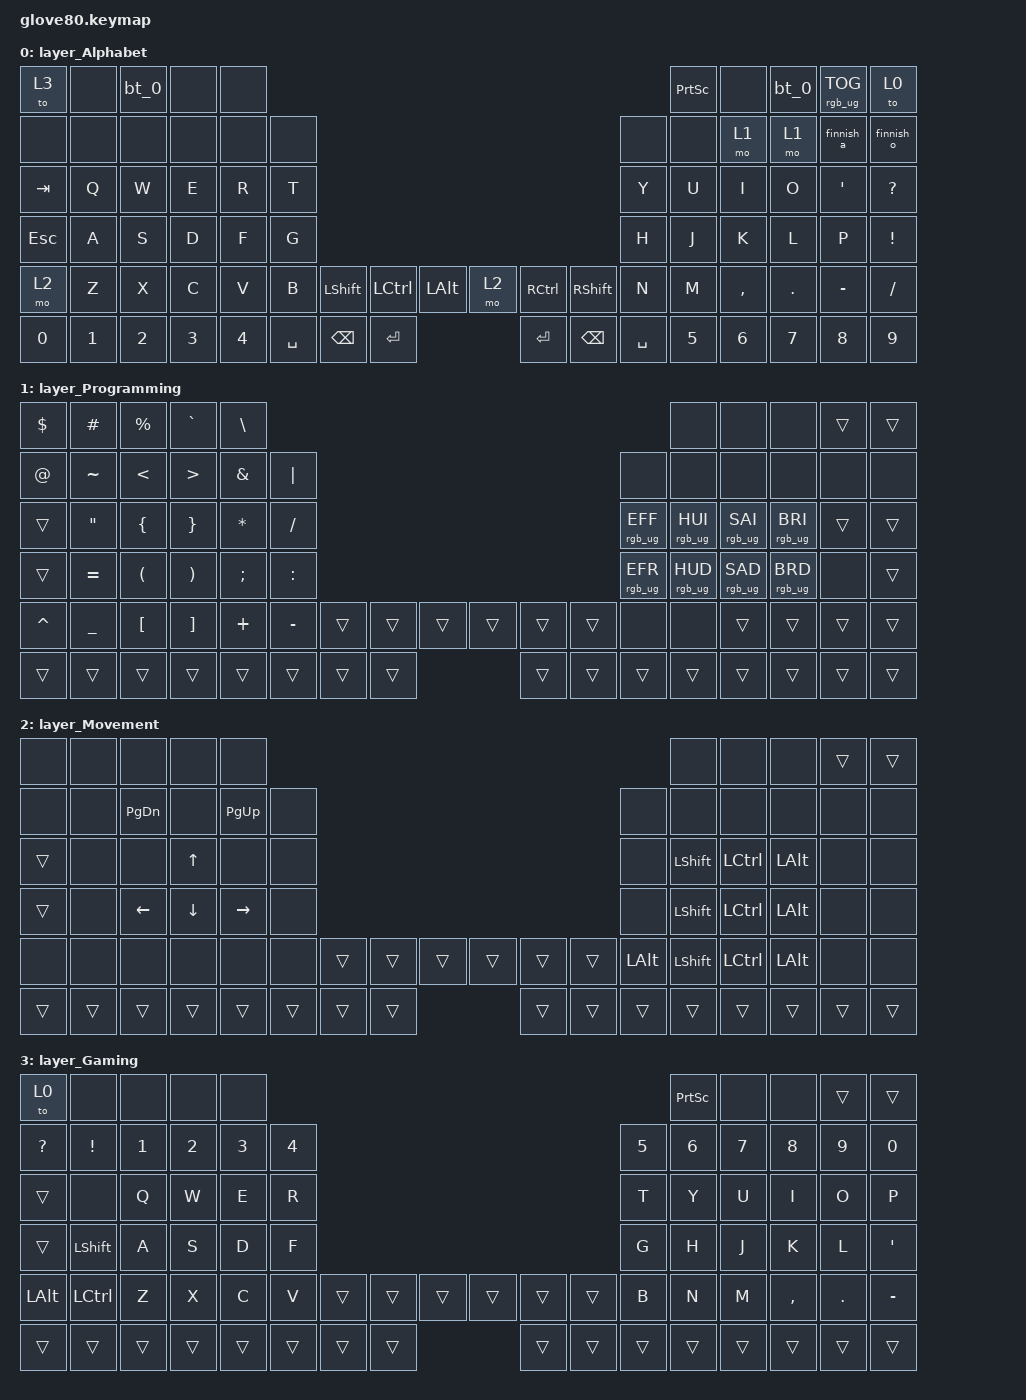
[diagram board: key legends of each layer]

/*
 * Copyright (c) 2020 The ZMK Contributors
 * Copyright (c) 2023 Innaworks Development Limited, trading as MoErgo
 *
 * SPDX-License-Identifier: MIT
 */


/* THIS FILE WAS GENERATED BY GLOVE80 LAYOUT EDITOR
 *
 * This file was generated automatically. You may or may not want to
 * edit it directly.
 */

#include <behaviors.dtsi>
/* Include all behavior includes needed */
#include <dt-bindings/zmk/outputs.h>
#include <dt-bindings/zmk/keys.h>
#include <dt-bindings/zmk/bt.h>
#include <dt-bindings/zmk/rgb.h>

/* Automatically generated layer name #define */
#define LAYER_Alphabet 0
#define LAYER_Programming 1
#define LAYER_Movement 2
#define LAYER_Gaming 3

/* To deal with the situation where there is no Lower layer, to keep &lower happy */
#ifndef LAYER_Lower
#define LAYER_Lower 0
#endif

/* Custom Device-tree */
#include <dt-bindings/zmk/rgb_colors.h>
/ {
    underglow-layer {
        compatible  = "zmk,underglow-layer";

        Alphabet {
            bindings = <
                ______ ______ ______ ______ ______                                                          ______ ______ ______ ______ ______
                PURPLE   PINK   PINK   PINK   PINK   PINK                                            ______   GOLD ORANGE ORANGE ORANGE    RED
                PURPLE ______ ______ ORANGE ______ ______                                            ______ YELLOW YELLOW YELLOW ORANGE ______
                PURPLE ______ ORANGE    RED ORANGE ______                                            ______ YELLOW YELLOW YELLOW ORANGE ______
                  BLUE ______    RED    RED    RED ______ ______ ______ ______  ______ ______ ______ ______ YELLOW YELLOW YELLOW    RED   BLUE
                ______ ______ ORANGE ORANGE ORANGE        ______  GREEN ______  ______ ______ ______        YELLOW YELLOW YELLOW    RED ______
                >;
            layer-id = <LAYER_Alphabet>;
        };
        Programming {
            bindings = <
                ______ ______ ______ ______ ______                                                          ______ ______ ______ ______ ______
                PURPLE   ORANGE   ORANGE   ORANGE   ORANGE   ORANGE                                            ______   GOLD ORANGE ORANGE ORANGE    RED
                PURPLE ______ ______ ORANGE ______ ______                                            ______ YELLOW YELLOW YELLOW ORANGE ______
                PURPLE ______ ORANGE    RED ORANGE ______                                            ______ YELLOW YELLOW YELLOW ORANGE ______
                  BLUE ______    RED    RED    RED ______ ______ ______ ______  ______ ______ ______ ______ YELLOW YELLOW YELLOW    RED   BLUE
                ______ ______ ORANGE ORANGE ORANGE        ______  GREEN ______  ______ ______ ______        YELLOW YELLOW YELLOW    RED ______
                >;
            layer-id = <LAYER_Programming>;
        };
        Movement {
            bindings = <
                ______ ______ ______ ______ ______                                                          ______ ______ ______ ______ ______
                PURPLE   RED   RED   RED   RED   RED                                            ______   GOLD ORANGE ORANGE ORANGE    RED
                PURPLE ______ ______ ORANGE ______ ______                                            ______ YELLOW YELLOW YELLOW ORANGE ______
                PURPLE ______ ORANGE    RED ORANGE ______                                            ______ YELLOW YELLOW YELLOW ORANGE ______
                  BLUE ______    RED    RED    RED ______ ______ ______ ______  ______ ______ ______ ______ YELLOW YELLOW YELLOW    RED   BLUE
                ______ ______ ORANGE ORANGE ORANGE        ______  GREEN ______  ______ ______ ______        YELLOW YELLOW YELLOW    RED ______
                >;
            layer-id = <LAYER_Movement>;
        };
        Gaming {
            bindings = <
                ______ ______ ______ ______ ______                                                          ______ ______ ______ ______ ______
                PURPLE   GREEN   GREEN   GREEN   GREEN   GREEN                                            ______   GOLD ORANGE ORANGE ORANGE    RED
                PURPLE ______ ______ ORANGE ______ ______                                            ______ YELLOW YELLOW YELLOW ORANGE ______
                PURPLE ______ ORANGE    RED ORANGE ______                                            ______ YELLOW YELLOW YELLOW ORANGE ______
                  BLUE ______    RED    RED    RED ______ ______ ______ ______  ______ ______ ______ ______ YELLOW YELLOW YELLOW    RED   BLUE
                ______ ______ ORANGE ORANGE ORANGE        ______  GREEN ______  ______ ______ ______        YELLOW YELLOW YELLOW    RED ______
                >;
            layer-id = <LAYER_Gaming>;
        };
    };
};


/* Glove80 system behavior & macros */
/ {
    behaviors {
        // For the "layer" key, it'd nice to be able to use it as either a shift or a toggle.
        // Configure it as a tap dance, so the first tap (or hold) is a &mo and the second tap is a &to
        lower: lower {
            compatible = "zmk,behavior-tap-dance";
            label = "LAYER_TAP_DANCE";
            #binding-cells = <0>;
            tapping-term-ms = <200>;
            bindings = <&mo LAYER_Lower>, <&to LAYER_Lower>;
        };
    };
};

/ {
    macros {
        rgb_ug_status_macro: rgb_ug_status_macro {
            label = "RGB_UG_STATUS";
            compatible = "zmk,behavior-macro";
            #binding-cells = <0>;
            bindings
                = <&rgb_ug RGB_STATUS>;
        };
    };
};


/ {
#ifdef BT_DISC_CMD
    behaviors {
        bt_0: bt_0 {
            compatible = "zmk,behavior-tap-dance";
            label = "BT_0";
            #binding-cells = <0>;
            tapping-term-ms = <200>;
            bindings = <&bt_select_0>, <&bt BT_DISC 0>;
        };
        bt_1: bt_1 {
            compatible = "zmk,behavior-tap-dance";
            label = "BT_1";
            #binding-cells = <0>;
            tapping-term-ms = <200>;
            bindings = <&bt_select_1>, <&bt BT_DISC 1>;
        };
        bt_2: bt_2 {
            compatible = "zmk,behavior-tap-dance";
            label = "BT_2";
            #binding-cells = <0>;
            tapping-term-ms = <200>;
            bindings = <&bt_select_2>, <&bt BT_DISC 2>;
        };
        bt_3: bt_3 {
            compatible = "zmk,behavior-tap-dance";
            label = "BT_3";
            #binding-cells = <0>;
            tapping-term-ms = <200>;
            bindings = <&bt_select_3>, <&bt BT_DISC 3>;
        };
    };
    macros {
        bt_select_0: bt_select_0 {
            label = "BT_SELECT_0";
            compatible = "zmk,behavior-macro";
            #binding-cells = <0>;
            bindings
                = <&out OUT_BLE>,
                  <&bt BT_SEL 0>;
        };
        bt_select_1: bt_select_1 {
            label = "BT_SELECT_1";
            compatible = "zmk,behavior-macro";
            #binding-cells = <0>;
            bindings
                = <&out OUT_BLE>,
                  <&bt BT_SEL 1>;
        };
        bt_select_2: bt_select_2 {
            label = "BT_SELECT_2";
            compatible = "zmk,behavior-macro";
            #binding-cells = <0>;
            bindings
                = <&out OUT_BLE>,
                  <&bt BT_SEL 2>;
        };
        bt_select_3: bt_select_3 {
            label = "BT_SELECT_3";
            compatible = "zmk,behavior-macro";
            #binding-cells = <0>;
            bindings
                = <&out OUT_BLE>,
                  <&bt BT_SEL 3>;
        };
    };
#else
    macros {
        bt_0: bt_0 {
            label = "BT_0";
            compatible = "zmk,behavior-macro";
            #binding-cells = <0>;
            bindings
                = <&out OUT_BLE>,
                  <&bt BT_SEL 0>;
        };
        bt_1: bt_1 {
            label = "BT_1";
            compatible = "zmk,behavior-macro";
            #binding-cells = <0>;
            bindings
                = <&out OUT_BLE>,
                  <&bt BT_SEL 1>;
        };
        bt_2: bt_2 {
            label = "BT_2";
            compatible = "zmk,behavior-macro";
            #binding-cells = <0>;
            bindings
                = <&out OUT_BLE>,
                  <&bt BT_SEL 2>;
        };
        bt_3: bt_3 {
            label = "BT_3";
            compatible = "zmk,behavior-macro";
            #binding-cells = <0>;
            bindings
                = <&out OUT_BLE>,
                  <&bt BT_SEL 3>;
        };
    };
#endif
};

/ {
    behaviors {
        magic: magic {
            compatible = "zmk,behavior-hold-tap";
            label = "MAGIC_HOLD_TAP";
            #binding-cells = <2>;
            flavor = "tap-preferred";
            tapping-term-ms = <200>;
            bindings = <&mo>, <&rgb_ug_status_macro>;
        };
    };
};

/* #define for key positions */
#define POS_LH_T1 52
#define POS_LH_T2 53
#define POS_LH_T3 54
#define POS_LH_T4 69
#define POS_LH_T5 70
#define POS_LH_T6 71
#define POS_LH_C1R2 15
#define POS_LH_C1R3 27
#define POS_LH_C1R4 39
#define POS_LH_C1R5 51
#define POS_LH_C2R1 4
#define POS_LH_C2R2 14
#define POS_LH_C2R3 26
#define POS_LH_C2R4 38
#define POS_LH_C2R5 50
#define POS_LH_C2R6 68
#define POS_LH_C3R1 3
#define POS_LH_C3R2 13
#define POS_LH_C3R3 25
#define POS_LH_C3R4 37
#define POS_LH_C3R5 49
#define POS_LH_C3R6 67
#define POS_LH_C4R1 2
#define POS_LH_C4R2 12
#define POS_LH_C4R3 24
#define POS_LH_C4R4 36
#define POS_LH_C4R5 48
#define POS_LH_C4R6 66
#define POS_LH_C5R1 1
#define POS_LH_C5R2 11
#define POS_LH_C5R3 23
#define POS_LH_C5R4 35
#define POS_LH_C5R5 47
#define POS_LH_C5R6 65
#define POS_LH_C6R1 0
#define POS_LH_C6R2 10
#define POS_LH_C6R3 22
#define POS_LH_C6R4 34
#define POS_LH_C6R5 46
#define POS_LH_C6R6 64
#define POS_RH_T1 57
#define POS_RH_T2 56
#define POS_RH_T3 55
#define POS_RH_T4 74
#define POS_RH_T5 73
#define POS_RH_T6 72
#define POS_RH_C1R2 16
#define POS_RH_C1R3 28
#define POS_RH_C1R4 40
#define POS_RH_C1R5 58
#define POS_RH_C2R1 5
#define POS_RH_C2R2 17
#define POS_RH_C2R3 29
#define POS_RH_C2R4 41
#define POS_RH_C2R5 59
#define POS_RH_C2R6 75
#define POS_RH_C3R1 6
#define POS_RH_C3R2 18
#define POS_RH_C3R3 30
#define POS_RH_C3R4 42
#define POS_RH_C3R5 60
#define POS_RH_C3R6 76
#define POS_RH_C4R1 7
#define POS_RH_C4R2 19
#define POS_RH_C4R3 31
#define POS_RH_C4R4 43
#define POS_RH_C4R5 61
#define POS_RH_C4R6 77
#define POS_RH_C5R1 8
#define POS_RH_C5R2 20
#define POS_RH_C5R3 32
#define POS_RH_C5R4 44
#define POS_RH_C5R5 62
#define POS_RH_C5R6 78
#define POS_RH_C6R1 9
#define POS_RH_C6R2 21
#define POS_RH_C6R3 33
#define POS_RH_C6R4 45
#define POS_RH_C6R5 63
#define POS_RH_C6R6 79

/* Custom Defined Behaviors */
/ {
// NOTE: Use the `#define` settings below to customize this keymap!
// For example, here are the main optional features you can enable:
#define DIFFICULTY_LEVEL  0 // 0:custom, 1:easy -> 5:hard (see below)
// TIP: Add more setting overrides here instead of editing them below.

//////////////////////////////////////////////////////////////////////////////
//
// Advanced Home Row Mods (HRM) Example based on
// Sunaku's Keymap v35 -- "Glorious Engrammer"
// - https://github.com/sunaku/glove80-keymaps
//
//////////////////////////////////////////////////////////////////////////////

//
// DIFFICULTY_LEVEL specifies your level of expertise with this keymap.
// It's meant to help newcomers gradually work their way up to mastery.
// You can disable this setting by omitting it or assigning a `0` zero.
//
// #define DIFFICULTY_LEVEL 0 // custom (see defaults below)
// #define DIFFICULTY_LEVEL 1 // novice (500ms)
// #define DIFFICULTY_LEVEL 2 // slower (400ms)
// #define DIFFICULTY_LEVEL 3 // normal (300ms)
// #define DIFFICULTY_LEVEL 4 // faster (200ms)
// #define DIFFICULTY_LEVEL 5 // expert (100ms)
//
#if defined(DIFFICULTY_LEVEL) && DIFFICULTY_LEVEL > 0
#define DIFFICULTY_THRESHOLD ((6-DIFFICULTY_LEVEL)*100)
#ifndef HOMEY_HOLDING_TIME
#define HOMEY_HOLDING_TIME DIFFICULTY_THRESHOLD
#endif
#ifndef INDEX_HOLDING_TIME
#define INDEX_HOLDING_TIME DIFFICULTY_THRESHOLD
#endif
#endif

behaviors {

    //////////////////////////////////////////////////////////////////////////
    //
    // Miryoku layers and home row mods (ported from my QMK endgame)
    // - https://sunaku.github.io/home-row-mods.html#porting-to-zmk
    // - https://github.com/urob/zmk-config#timeless-homerow-mods
    //
    //////////////////////////////////////////////////////////////////////////

    //
    // HOMEY_HOLDING_TYPE defines the flavor of ZMK hold-tap behavior to use
    // for the pinky, ring, and middle fingers (which are assigned to Super,
    // Alt, and Ctrl respectively in the Miryoku system) on home row keys.
    //
    #ifndef HOMEY_HOLDING_TYPE
    #define HOMEY_HOLDING_TYPE "tap-preferred"
    #endif

    //
    // HOMEY_HOLDING_TIME defines how long you need to hold (milliseconds)
    // home row mod keys in order to send their modifiers to the computer
    // (i.e. "register" them) for mod-click mouse usage (e.g. Ctrl-Click).
    //
    #ifndef HOMEY_HOLDING_TIME
    #define HOMEY_HOLDING_TIME 270 // TAPPING_TERM + ALLOW_CROSSOVER_AFTER
    #endif

    //
    // HOMEY_STREAK_DECAY defines how long you need to wait (milliseconds)
    // after typing before you can use home row mods again.  It prevents
    // unintended activation of home row mods when you're actively typing.
    //
    #ifndef HOMEY_STREAK_DECAY
    #define HOMEY_STREAK_DECAY 250
    #endif

    //
    // HOMEY_REPEAT_DECAY defines how much time you have left (milliseconds)
    // after tapping a key to hold it again in order to make it auto-repeat.
    //
    #ifndef HOMEY_REPEAT_DECAY
    #define HOMEY_REPEAT_DECAY 300 // "tap then hold" for key auto-repeat
    #endif

    //
    // INDEX_HOLDING_TYPE defines the flavor of ZMK hold-tap behavior to use
    // for index fingers (which Miryoku assigns to Shift) on home row keys.
    //
    #ifndef INDEX_HOLDING_TYPE
    #define INDEX_HOLDING_TYPE "tap-preferred"
    #endif

    //
    // INDEX_HOLDING_TIME defines how long you need to hold (milliseconds)
    // index finger keys in order to send their modifiers to the computer
    // (i.e. "register" them) for mod-click mouse usage (e.g. Shift-Click).
    //
    #ifndef INDEX_HOLDING_TIME
    #define INDEX_HOLDING_TIME 170
    #endif

    //
    // INDEX_STREAK_DECAY defines how long you need to wait (milliseconds)
    // after typing before you can use home row mods again.  It prevents
    // unintended activation of home row mods when you're actively typing.
    //
    #ifndef INDEX_STREAK_DECAY
    #define INDEX_STREAK_DECAY 150
    #endif

    //
    // INDEX_REPEAT_DECAY defines how much time you have left (milliseconds)
    // after tapping a key to hold it again in order to make it auto-repeat.
    //
    #ifndef INDEX_REPEAT_DECAY
    #define INDEX_REPEAT_DECAY 300 // "tap then hold" for key auto-repeat
    #endif

    //
    // Glove80 key positions index for positional hold-tap
    // - https://discord.com/channels/877392805654306816/937645688244826154/1066713913351221248
    // - https://media.discordapp.net/attachments/937645688244826154/1066713913133121556/image.png
    //
    // |------------------------|------------------------|
    // | LEFT_HAND_KEYS         |        RIGHT_HAND_KEYS |
    // |                        |                        |
    // |  0  1  2  3  4         |          5  6  7  8  9 |
    // | 10 11 12 13 14 15      |      16 17 18 19 20 21 |
    // | 22 23 24 25 26 27      |      28 29 30 31 32 33 |
    // | 34 35 36 37 38 39      |      40 41 42 43 44 45 |
    // | 46 47 48 49 50 51      |      58 59 60 61 62 63 |
    // | 64 65 66 67 68         |         75 76 77 78 79 |
    // |                69 52   |   57 74                |
    // |                 70 53  |  56 73                 |
    // |                  71 54 | 55 72                  |
    // |------------------------|------------------------|
    //
    #define LEFT_HAND_KEYS      \
          0  1  2  3  4         \
         10 11 12 13 14 15      \
         22 23 24 25 26 27      \
         34 35 36 37 38 39      \
         46 47 48 49 50 51      \
         64 65 66 67 68
    #define RIGHT_HAND_KEYS     \
                                           5  6  7  8  9 \
                                       16 17 18 19 20 21 \
                                       28 29 30 31 32 33 \
                                       40 41 42 43 44 45 \
                                       58 59 60 61 62 63 \
                                          75 76 77 78 79
    #define THUMB_KEYS          \
                        69 52       57 74                \
                         70 53     56 73                 \
                          71 54   55 72

    //
    // Home row mods with per-finger configuration settings
    //
    #ifndef PINKY_HOLDING_TYPE
    #define PINKY_HOLDING_TYPE HOMEY_HOLDING_TYPE
    #endif
    #ifndef PINKY_HOLDING_TIME
    #define PINKY_HOLDING_TIME HOMEY_HOLDING_TIME
    #endif
    #ifndef PINKY_STREAK_DECAY
    #define PINKY_STREAK_DECAY HOMEY_STREAK_DECAY
    #endif
    #ifndef PINKY_REPEAT_DECAY
    #define PINKY_REPEAT_DECAY HOMEY_REPEAT_DECAY
    #endif
    #ifndef RING1_HOLDING_TYPE
    #define RING1_HOLDING_TYPE HOMEY_HOLDING_TYPE
    #endif
    #ifndef RING1_HOLDING_TIME
    #define RING1_HOLDING_TIME HOMEY_HOLDING_TIME
    #endif
    #ifndef RING1_STREAK_DECAY
    #define RING1_STREAK_DECAY HOMEY_STREAK_DECAY
    #endif
    #ifndef RING1_REPEAT_DECAY
    #define RING1_REPEAT_DECAY HOMEY_REPEAT_DECAY
    #endif
    #ifndef RING2_HOLDING_TYPE
    #define RING2_HOLDING_TYPE HOMEY_HOLDING_TYPE
    #endif
    #ifndef RING2_HOLDING_TIME
    #define RING2_HOLDING_TIME HOMEY_HOLDING_TIME
    #endif
    #ifndef RING2_STREAK_DECAY
    #define RING2_STREAK_DECAY HOMEY_STREAK_DECAY
    #endif
    #ifndef RING2_REPEAT_DECAY
    #define RING2_REPEAT_DECAY HOMEY_REPEAT_DECAY
    #endif
    #ifndef MIDDY_HOLDING_TYPE
    #define MIDDY_HOLDING_TYPE HOMEY_HOLDING_TYPE
    #endif
    #ifndef MIDDY_HOLDING_TIME
    #define MIDDY_HOLDING_TIME HOMEY_HOLDING_TIME
    #endif
    #ifndef MIDDY_STREAK_DECAY
    #define MIDDY_STREAK_DECAY HOMEY_STREAK_DECAY
    #endif
    #ifndef MIDDY_REPEAT_DECAY
    #define MIDDY_REPEAT_DECAY HOMEY_REPEAT_DECAY
    #endif
    #ifndef INDEX_HOLDING_TYPE
    #define INDEX_HOLDING_TYPE HOMEY_HOLDING_TYPE
    #endif
    #ifndef INDEX_HOLDING_TIME
    #define INDEX_HOLDING_TIME HOMEY_HOLDING_TIME
    #endif
    #ifndef INDEX_STREAK_DECAY
    #define INDEX_STREAK_DECAY HOMEY_STREAK_DECAY
    #endif
    #ifndef INDEX_REPEAT_DECAY
    #define INDEX_REPEAT_DECAY HOMEY_REPEAT_DECAY
    #endif
    #ifndef LEFT_PINKY_HOLDING_TYPE
    #define LEFT_PINKY_HOLDING_TYPE PINKY_HOLDING_TYPE
    #endif
    #ifndef LEFT_PINKY_HOLDING_TIME
    #define LEFT_PINKY_HOLDING_TIME PINKY_HOLDING_TIME
    #endif
    #ifndef LEFT_PINKY_STREAK_DECAY
    #define LEFT_PINKY_STREAK_DECAY PINKY_STREAK_DECAY
    #endif
    #ifndef LEFT_PINKY_REPEAT_DECAY
    #define LEFT_PINKY_REPEAT_DECAY PINKY_REPEAT_DECAY
    #endif
    left_pinky: homey_left_pinky {
        compatible = "zmk,behavior-hold-tap";
        flavor = LEFT_PINKY_HOLDING_TYPE;
        hold-trigger-key-positions = <RIGHT_HAND_KEYS THUMB_KEYS>;
        hold-trigger-on-release; // wait for other home row mods
        tapping-term-ms = <LEFT_PINKY_HOLDING_TIME>;
        quick-tap-ms = <LEFT_PINKY_REPEAT_DECAY>;
        require-prior-idle-ms = <LEFT_PINKY_STREAK_DECAY>;
        #binding-cells = <2>;
        bindings = <&kp>, <&kp>;
    };
    #ifndef RIGHT_PINKY_HOLDING_TYPE
    #define RIGHT_PINKY_HOLDING_TYPE PINKY_HOLDING_TYPE
    #endif
    #ifndef RIGHT_PINKY_HOLDING_TIME
    #define RIGHT_PINKY_HOLDING_TIME PINKY_HOLDING_TIME
    #endif
    #ifndef RIGHT_PINKY_STREAK_DECAY
    #define RIGHT_PINKY_STREAK_DECAY PINKY_STREAK_DECAY
    #endif
    #ifndef RIGHT_PINKY_REPEAT_DECAY
    #define RIGHT_PINKY_REPEAT_DECAY PINKY_REPEAT_DECAY
    #endif
    right_pinky: homey_right_pinky {
        compatible = "zmk,behavior-hold-tap";
        flavor = RIGHT_PINKY_HOLDING_TYPE;
        hold-trigger-key-positions = <LEFT_HAND_KEYS THUMB_KEYS>;
        hold-trigger-on-release; // wait for other home row mods
        tapping-term-ms = <RIGHT_PINKY_HOLDING_TIME>;
        quick-tap-ms = <RIGHT_PINKY_REPEAT_DECAY>;
        require-prior-idle-ms = <RIGHT_PINKY_STREAK_DECAY>;
        #binding-cells = <2>;
        bindings = <&kp>, <&kp>;
    };
    #ifndef LEFT_RING1_HOLDING_TYPE
    #define LEFT_RING1_HOLDING_TYPE RING1_HOLDING_TYPE
    #endif
    #ifndef LEFT_RING1_HOLDING_TIME
    #define LEFT_RING1_HOLDING_TIME RING1_HOLDING_TIME
    #endif
    #ifndef LEFT_RING1_STREAK_DECAY
    #define LEFT_RING1_STREAK_DECAY RING1_STREAK_DECAY
    #endif
    #ifndef LEFT_RING1_REPEAT_DECAY
    #define LEFT_RING1_REPEAT_DECAY RING1_REPEAT_DECAY
    #endif
    left_ring1: homey_left_ring1 {
        compatible = "zmk,behavior-hold-tap";
        flavor = LEFT_RING1_HOLDING_TYPE;
        hold-trigger-key-positions = <RIGHT_HAND_KEYS THUMB_KEYS>;
        hold-trigger-on-release; // wait for other home row mods
        tapping-term-ms = <LEFT_RING1_HOLDING_TIME>;
        quick-tap-ms = <LEFT_RING1_REPEAT_DECAY>;
        require-prior-idle-ms = <LEFT_RING1_STREAK_DECAY>;
        #binding-cells = <2>;
        bindings = <&kp>, <&kp>;
    };
    #ifndef RIGHT_RING1_HOLDING_TYPE
    #define RIGHT_RING1_HOLDING_TYPE RING1_HOLDING_TYPE
    #endif
    #ifndef RIGHT_RING1_HOLDING_TIME
    #define RIGHT_RING1_HOLDING_TIME RING1_HOLDING_TIME
    #endif
    #ifndef RIGHT_RING1_STREAK_DECAY
    #define RIGHT_RING1_STREAK_DECAY RING1_STREAK_DECAY
    #endif
    #ifndef RIGHT_RING1_REPEAT_DECAY
    #define RIGHT_RING1_REPEAT_DECAY RING1_REPEAT_DECAY
    #endif
    right_ring1: homey_right_ring1 {
        compatible = "zmk,behavior-hold-tap";
        flavor = RIGHT_RING1_HOLDING_TYPE;
        hold-trigger-key-positions = <LEFT_HAND_KEYS THUMB_KEYS>;
        hold-trigger-on-release; // wait for other home row mods
        tapping-term-ms = <RIGHT_RING1_HOLDING_TIME>;
        quick-tap-ms = <RIGHT_RING1_REPEAT_DECAY>;
        require-prior-idle-ms = <RIGHT_RING1_STREAK_DECAY>;
        #binding-cells = <2>;
        bindings = <&kp>, <&kp>;
    };
    #ifndef LEFT_RING2_HOLDING_TYPE
    #define LEFT_RING2_HOLDING_TYPE RING2_HOLDING_TYPE
    #endif
    #ifndef LEFT_RING2_HOLDING_TIME
    #define LEFT_RING2_HOLDING_TIME RING2_HOLDING_TIME
    #endif
    #ifndef LEFT_RING2_STREAK_DECAY
    #define LEFT_RING2_STREAK_DECAY RING2_STREAK_DECAY
    #endif
    #ifndef LEFT_RING2_REPEAT_DECAY
    #define LEFT_RING2_REPEAT_DECAY RING2_REPEAT_DECAY
    #endif
    left_ring2: homey_left_ring2 {
        compatible = "zmk,behavior-hold-tap";
        flavor = LEFT_RING2_HOLDING_TYPE;
        hold-trigger-key-positions = <RIGHT_HAND_KEYS THUMB_KEYS>;
        hold-trigger-on-release; // wait for other home row mods
        tapping-term-ms = <LEFT_RING2_HOLDING_TIME>;
        quick-tap-ms = <LEFT_RING2_REPEAT_DECAY>;
        require-prior-idle-ms = <LEFT_RING2_STREAK_DECAY>;
        #binding-cells = <2>;
        bindings = <&kp>, <&kp>;
    };
    #ifndef RIGHT_RING2_HOLDING_TYPE
    #define RIGHT_RING2_HOLDING_TYPE RING2_HOLDING_TYPE
    #endif
    #ifndef RIGHT_RING2_HOLDING_TIME
    #define RIGHT_RING2_HOLDING_TIME RING2_HOLDING_TIME
    #endif
    #ifndef RIGHT_RING2_STREAK_DECAY
    #define RIGHT_RING2_STREAK_DECAY RING2_STREAK_DECAY
    #endif
    #ifndef RIGHT_RING2_REPEAT_DECAY
    #define RIGHT_RING2_REPEAT_DECAY RING2_REPEAT_DECAY
    #endif
    right_ring2: homey_right_ring2 {
        compatible = "zmk,behavior-hold-tap";
        flavor = RIGHT_RING2_HOLDING_TYPE;
        hold-trigger-key-positions = <LEFT_HAND_KEYS THUMB_KEYS>;
        hold-trigger-on-release; // wait for other home row mods
        tapping-term-ms = <RIGHT_RING2_HOLDING_TIME>;
        quick-tap-ms = <RIGHT_RING2_REPEAT_DECAY>;
        require-prior-idle-ms = <RIGHT_RING2_STREAK_DECAY>;
        #binding-cells = <2>;
        bindings = <&kp>, <&kp>;
    };
    #ifndef LEFT_MIDDY_HOLDING_TYPE
    #define LEFT_MIDDY_HOLDING_TYPE MIDDY_HOLDING_TYPE
    #endif
    #ifndef LEFT_MIDDY_HOLDING_TIME
    #define LEFT_MIDDY_HOLDING_TIME MIDDY_HOLDING_TIME
    #endif
    #ifndef LEFT_MIDDY_STREAK_DECAY
    #define LEFT_MIDDY_STREAK_DECAY MIDDY_STREAK_DECAY
    #endif
    #ifndef LEFT_MIDDY_REPEAT_DECAY
    #define LEFT_MIDDY_REPEAT_DECAY MIDDY_REPEAT_DECAY
    #endif
    left_middy: homey_left_middy {
        compatible = "zmk,behavior-hold-tap";
        flavor = LEFT_MIDDY_HOLDING_TYPE;
        hold-trigger-key-positions = <RIGHT_HAND_KEYS THUMB_KEYS>;
        hold-trigger-on-release; // wait for other home row mods
        tapping-term-ms = <LEFT_MIDDY_HOLDING_TIME>;
        quick-tap-ms = <LEFT_MIDDY_REPEAT_DECAY>;
        require-prior-idle-ms = <LEFT_MIDDY_STREAK_DECAY>;
        #binding-cells = <2>;
        bindings = <&kp>, <&kp>;
    };
    #ifndef RIGHT_MIDDY_HOLDING_TYPE
    #define RIGHT_MIDDY_HOLDING_TYPE MIDDY_HOLDING_TYPE
    #endif
    #ifndef RIGHT_MIDDY_HOLDING_TIME
    #define RIGHT_MIDDY_HOLDING_TIME MIDDY_HOLDING_TIME
    #endif
    #ifndef RIGHT_MIDDY_STREAK_DECAY
    #define RIGHT_MIDDY_STREAK_DECAY MIDDY_STREAK_DECAY
    #endif
    #ifndef RIGHT_MIDDY_REPEAT_DECAY
    #define RIGHT_MIDDY_REPEAT_DECAY MIDDY_REPEAT_DECAY
    #endif
    right_middy: homey_right_middy {
        compatible = "zmk,behavior-hold-tap";
        flavor = RIGHT_MIDDY_HOLDING_TYPE;
        hold-trigger-key-positions = <LEFT_HAND_KEYS THUMB_KEYS>;
        hold-trigger-on-release; // wait for other home row mods
        tapping-term-ms = <RIGHT_MIDDY_HOLDING_TIME>;
        quick-tap-ms = <RIGHT_MIDDY_REPEAT_DECAY>;
        require-prior-idle-ms = <RIGHT_MIDDY_STREAK_DECAY>;
        #binding-cells = <2>;
        bindings = <&kp>, <&kp>;
    };
    #ifndef LEFT_INDEX_HOLDING_TYPE
    #define LEFT_INDEX_HOLDING_TYPE INDEX_HOLDING_TYPE
    #endif
    #ifndef LEFT_INDEX_HOLDING_TIME
    #define LEFT_INDEX_HOLDING_TIME INDEX_HOLDING_TIME
    #endif
    #ifndef LEFT_INDEX_STREAK_DECAY
    #define LEFT_INDEX_STREAK_DECAY INDEX_STREAK_DECAY
    #endif
    #ifndef LEFT_INDEX_REPEAT_DECAY
    #define LEFT_INDEX_REPEAT_DECAY INDEX_REPEAT_DECAY
    #endif
    left_index: homey_left_index {
        compatible = "zmk,behavior-hold-tap";
        flavor = LEFT_INDEX_HOLDING_TYPE;
        hold-trigger-key-positions = <RIGHT_HAND_KEYS THUMB_KEYS>;
        hold-trigger-on-release; // wait for other home row mods
        tapping-term-ms = <LEFT_INDEX_HOLDING_TIME>;
        quick-tap-ms = <LEFT_INDEX_REPEAT_DECAY>;
        require-prior-idle-ms = <LEFT_INDEX_STREAK_DECAY>;
        #binding-cells = <2>;
        bindings = <&kp>, <&kp>;
    };
    #ifndef RIGHT_INDEX_HOLDING_TYPE
    #define RIGHT_INDEX_HOLDING_TYPE INDEX_HOLDING_TYPE
    #endif
    #ifndef RIGHT_INDEX_HOLDING_TIME
    #define RIGHT_INDEX_HOLDING_TIME INDEX_HOLDING_TIME
    #endif
    #ifndef RIGHT_INDEX_STREAK_DECAY
    #define RIGHT_INDEX_STREAK_DECAY INDEX_STREAK_DECAY
    #endif
    #ifndef RIGHT_INDEX_REPEAT_DECAY
    #define RIGHT_INDEX_REPEAT_DECAY INDEX_REPEAT_DECAY
    #endif
    right_index: homey_right_index {
        compatible = "zmk,behavior-hold-tap";
        flavor = RIGHT_INDEX_HOLDING_TYPE;
        hold-trigger-key-positions = <LEFT_HAND_KEYS THUMB_KEYS>;
        hold-trigger-on-release; // wait for other home row mods
        tapping-term-ms = <RIGHT_INDEX_HOLDING_TIME>;
        quick-tap-ms = <RIGHT_INDEX_REPEAT_DECAY>;
        require-prior-idle-ms = <RIGHT_INDEX_STREAK_DECAY>;
        #binding-cells = <2>;
        bindings = <&kp>, <&kp>;
    };

};
};

/* Automatically generated macro definitions */
/ {
    macros {
    
        // Types a (Finnish version)
        finnish_a: finnish_a {
            label = "&FINNISH_A";
            compatible = "zmk,behavior-macro";
            #binding-cells = <0>;
            bindings = <&kt LALT>
                , <&kp KP_N1>
                , <&kp KP_N3>
                , <&kp KP_N2>
                , <&kt LALT>;
        };
    
        // Types o (Finnish version)
        finnish_o: finnish_o {
            label = "&FINNISH_O";
            compatible = "zmk,behavior-macro";
            #binding-cells = <0>;
            bindings = <&kt LALT>
                , <&kp KP_N1>
                , <&kp KP_N4>
                , <&kp KP_N8>
                , <&kt LALT>;
        };
    };
};

/* Automatically generated behavior definitions */
/ {
    behaviors {
    
    };
};

/* Automatically generated combos definitions */
/ {
    combos {
    compatible = "zmk,combos";
    };
};

/* Automatically generated keymap */
/ {
    keymap {
        compatible = "zmk,keymap";


        layer_Alphabet {
            bindings = <
   &to 3   &none   &bt_0   &none   &none                                                                                 &kp PSCRN      &none    &bt_0  &rgb_ug RGB_TOG       &to 0
   &none   &none   &none   &none   &none   &none                                                                  &none      &none      &mo 1    &mo 1       &finnish_a  &finnish_o
 &kp TAB   &kp Q   &kp W   &kp E   &kp R   &kp T                                                                  &kp Y      &kp U      &kp I    &kp O          &kp SQT   &kp QMARK
 &kp ESC   &kp A   &kp S   &kp D   &kp F   &kp G                                                                  &kp H      &kp J      &kp K    &kp L            &kp P    &kp EXCL
   &mo 2   &kp Z   &kp X   &kp C   &kp V   &kp B  &kp LSHFT  &kp LCTRL  &kp LALT    &mo 2  &kp RCTRL  &kp RSHFT   &kp N      &kp M  &kp COMMA  &kp DOT        &kp MINUS    &kp FSLH
  &kp N0  &kp N1  &kp N2  &kp N3  &kp N4          &kp SPACE   &kp BSPC   &kp RET  &kp RET   &kp BSPC  &kp SPACE             &kp N5     &kp N6   &kp N7           &kp N8      &kp N9
            >;
        };

        layer_Programming {
            bindings = <
  &kp DLLR   &kp HASH  &kp PRCNT  &kp GRAVE  &kp BSLH                                                                                        &none            &none            &none  &trans  &trans
    &kp AT  &kp TILDE     &kp LT     &kp GT  &kp AMPS   &kp PIPE                                                            &none            &none            &none            &none   &none   &none
    &trans    &kp DQT   &kp LBRC   &kp RBRC  &kp STAR   &kp FSLH                                                  &rgb_ug RGB_EFF  &rgb_ug RGB_HUI  &rgb_ug RGB_SAI  &rgb_ug RGB_BRI  &trans  &trans
    &trans  &kp EQUAL   &kp LPAR   &kp RPAR  &kp SEMI  &kp COLON                                                  &rgb_ug RGB_EFR  &rgb_ug RGB_HUD  &rgb_ug RGB_SAD  &rgb_ug RGB_BRD   &none  &trans
 &kp CARET  &kp UNDER   &kp LBKT   &kp RBKT  &kp PLUS  &kp MINUS  &trans  &trans  &trans  &trans  &trans  &trans            &none            &none           &trans           &trans  &trans  &trans
    &trans     &trans     &trans     &trans    &trans             &trans  &trans  &trans  &trans  &trans  &trans                            &trans           &trans           &trans  &trans  &trans
            >;
        };

        layer_Movement {
            bindings = <
  &none   &none      &none     &none      &none                                                                        &none      &none     &none  &trans  &trans
  &none   &none  &kp PG_DN     &none  &kp PG_UP   &none                                                     &none      &none      &none     &none   &none   &none
 &trans   &none      &none    &kp UP      &none   &none                                                     &none  &kp LSHFT  &kp LCTRL  &kp LALT   &none   &none
 &trans   &none   &kp LEFT  &kp DOWN  &kp RIGHT   &none                                                     &none  &kp LSHFT  &kp LCTRL  &kp LALT   &none   &none
  &none   &none      &none     &none      &none   &none  &trans  &trans  &trans  &trans  &trans  &trans  &kp LALT  &kp LSHFT  &kp LCTRL  &kp LALT   &none   &none
 &trans  &trans     &trans    &trans     &trans          &trans  &trans  &trans  &trans  &trans  &trans               &trans     &trans    &trans  &trans  &trans
            >;
        };

        layer_Gaming {
            bindings = <
     &to 0      &none   &none   &none   &none                                                                  &kp PSCRN   &none      &none   &trans     &trans
 &kp QMARK   &kp EXCL  &kp N1  &kp N2  &kp N3  &kp N4                                                  &kp N5     &kp N6  &kp N7     &kp N8   &kp N9     &kp N0
    &trans      &none   &kp Q   &kp W   &kp E   &kp R                                                   &kp T      &kp Y   &kp U      &kp I    &kp O      &kp P
    &trans  &kp LSHFT   &kp A   &kp S   &kp D   &kp F                                                   &kp G      &kp H   &kp J      &kp K    &kp L    &kp SQT
  &kp LALT  &kp LCTRL   &kp Z   &kp X   &kp C   &kp V  &trans  &trans  &trans  &trans  &trans  &trans   &kp B      &kp N   &kp M  &kp COMMA  &kp DOT  &kp MINUS
    &trans     &trans  &trans  &trans  &trans          &trans  &trans  &trans  &trans  &trans  &trans             &trans  &trans     &trans   &trans     &trans
            >;
        };

    };
};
